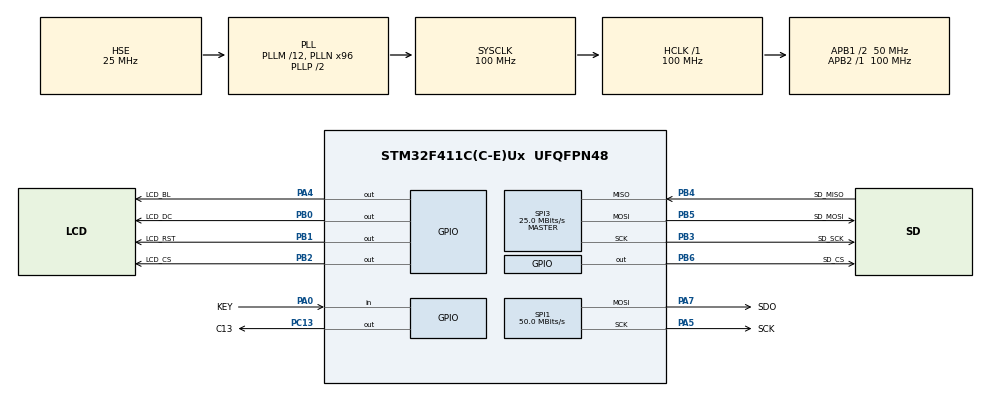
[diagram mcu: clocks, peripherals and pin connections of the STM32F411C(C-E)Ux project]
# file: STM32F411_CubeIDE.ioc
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Dma.Request0=SPI1_TX
Dma.SPI1_TX.0.Direction=DMA_MEMORY_TO_PERIPH
Dma.SPI1_TX.0.FIFOMode=DMA_FIFOMODE_DISABLE
Dma.SPI1_TX.0.Instance=DMA2_Stream2
Dma.SPI1_TX.0.MemDataAlignment=DMA_MDATAALIGN_BYTE
Dma.SPI1_TX.0.MemInc=DMA_MINC_ENABLE
Dma.SPI1_TX.0.Mode=DMA_NORMAL
Dma.SPI1_TX.0.PeriphDataAlignment=DMA_PDATAALIGN_BYTE
Dma.SPI1_TX.0.PeriphInc=DMA_PINC_DISABLE
Dma.SPI1_TX.0.Priority=DMA_PRIORITY_LOW
FATFS._FS_EXFAT=0
FATFS._MAX_SS=4096
FATFS._USE_LFN=0
Mcu.Family=STM32F4
Mcu.Name=STM32F411C(C-E)Ux
Mcu.Package=UFQFPN48
NVIC.DMA2_Stream2_IRQn=true\:0\:0\:false\:false\:true\:false\:true
NVIC.PriorityGroup=NVIC_PRIORITYGROUP_4
PA0-WKUP.GPIO_Label=KEY
PA0-WKUP.GPIO_PuPd=GPIO_PULLUP
PA0-WKUP.Signal=GPIO_Input
PA13.Mode=Serial_Wire
PA13.Signal=SYS_JTMS-SWDIO
PA14.Mode=Serial_Wire
PA14.Signal=SYS_JTCK-SWCLK
PA4.GPIO_Label=LCD_BL
PA4.GPIO_PuPd=GPIO_NOPULL
PA4.GPIO_Speed=GPIO_SPEED_FREQ_VERY_HIGH
PA4.PinState=GPIO_PIN_SET
PA4.Signal=GPIO_Output
PA5.GPIO_Label=SCK
PA5.GPIO_PuPd=GPIO_NOPULL
PA5.Mode=TX_Only_Simplex_Unidirect_Master
PA5.Signal=SPI1_SCK
PA7.GPIO_Label=SDO
PA7.Mode=TX_Only_Simplex_Unidirect_Master
PA7.Signal=SPI1_MOSI
PB0.GPIO_Label=LCD_DC
PB0.GPIO_PuPd=GPIO_PULLDOWN
PB0.GPIO_Speed=GPIO_SPEED_FREQ_VERY_HIGH
PB0.PinState=GPIO_PIN_SET
PB0.Signal=GPIO_Output
PB1.GPIO_Label=LCD_RST
PB1.GPIO_PuPd=GPIO_PULLDOWN
PB1.GPIO_Speed=GPIO_SPEED_FREQ_VERY_HIGH
PB1.PinState=GPIO_PIN_SET
PB1.Signal=GPIO_Output
PB2.GPIO_Label=LCD_CS
PB2.GPIO_PuPd=GPIO_NOPULL
PB2.GPIO_Speed=GPIO_SPEED_FREQ_VERY_HIGH
PB2.PinState=GPIO_PIN_SET
PB2.Signal=GPIO_Output
PB3.GPIO_Label=SD_SCK
PB3.Mode=Full_Duplex_Master
PB3.Signal=SPI3_SCK
PB4.GPIO_Label=SD_MISO
PB4.Mode=Full_Duplex_Master
PB4.Signal=SPI3_MISO
PB5.GPIO_Label=SD_MOSI
PB5.Mode=Full_Duplex_Master
PB5.Signal=SPI3_MOSI
PB6.GPIO_Label=SD_CS
PB6.GPIO_PuPd=GPIO_PULLUP
PB6.GPIO_Speed=GPIO_SPEED_FREQ_MEDIUM
PB6.PinState=GPIO_PIN_SET
PB6.Signal=GPIO_Output
PC13-ANTI_TAMP.GPIO_Label=C13
PC13-ANTI_TAMP.PinState=GPIO_PIN_SET
PC13-ANTI_TAMP.Signal=GPIO_Output
PC14-OSC32_IN.Mode=LSE-External-Oscillator
PC14-OSC32_IN.Signal=RCC_OSC32_IN
PC15-OSC32_OUT.Mode=LSE-External-Oscillator
PC15-OSC32_OUT.Signal=RCC_OSC32_OUT
PH0\ -\ OSC_IN.Mode=HSE-External-Oscillator
PH0\ -\ OSC_IN.Signal=RCC_OSC_IN
PH1\ -\ OSC_OUT.Mode=HSE-External-Oscillator
PH1\ -\ OSC_OUT.Signal=RCC_OSC_OUT
ProjectManager.HeapSize=0x200
ProjectManager.StackSize=0x400
ProjectManager.TargetToolchain=STM32CubeIDE
RCC.48MHZClocksFreq_Value=50000000
RCC.AHBFreq_Value=100000000
RCC.APB1CLKDivider=RCC_HCLK_DIV2
RCC.APB1Freq_Value=50000000
RCC.APB1TimFreq_Value=100000000
RCC.APB2Freq_Value=100000000
RCC.APB2TimFreq_Value=100000000
RCC.CortexFreq_Value=100000000
RCC.HCLKFreq_Value=100000000
RCC.HSE_VALUE=25000000
RCC.HSI_VALUE=16000000
RCC.PLLM=12
RCC.PLLN=96
RCC.PLLSourceVirtual=RCC_PLLSOURCE_HSE
RCC.RCC_RTC_Clock_Source=RCC_RTCCLKSOURCE_LSE
RCC.RCC_RTC_Clock_SourceVirtual=RCC_RTCCLKSOURCE_LSE
RCC.SYSCLKFreq_VALUE=100000000
RCC.SYSCLKSource=RCC_SYSCLKSOURCE_PLLCLK
RCC.VCOOutputFreq_Value=200000000
SPI1.BaudRatePrescaler=SPI_BAUDRATEPRESCALER_2
SPI1.CLKPolarity=SPI_POLARITY_HIGH
SPI1.CalculateBaudRate=50.0 MBits/s
SPI1.Direction=SPI_DIRECTION_2LINES
SPI1.Mode=SPI_MODE_MASTER
SPI1.VirtualType=VM_MASTER
SPI3.BaudRatePrescaler=SPI_BAUDRATEPRESCALER_2
SPI3.CalculateBaudRate=25.0 MBits/s
SPI3.Direction=SPI_DIRECTION_2LINES
SPI3.Mode=SPI_MODE_MASTER
SPI3.VirtualType=VM_MASTER
VP_FATFS_VS_Generic.Mode=User_defined
board=custom

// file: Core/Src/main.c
/* USER CODE BEGIN Header */
/**
 ******************************************************************************
 * @file           : main.c
 * @brief          : Main program body
 ******************************************************************************
 * @attention
 *
 * <h2><center>&copy; Copyright (c) 2020 STMicroelectronics.
 * All rights reserved.</center></h2>
 *
 * This software component is licensed by ST under BSD 3-Clause license,
 * the "License"; You may not use this file except in compliance with the
 * License. You may obtain a copy of the License at:
 *                        opensource.org/licenses/BSD-3-Clause
 *
 ******************************************************************************
 */
/* USER CODE END Header */
#include "main.h"
#include "dma.h"
#include "fatfs.h"
#include "spi.h"
#include "gpio.h"

/* USER CODE BEGIN Includes */
#include <stdio.h>
#include "st7789.h"
#include "tjpgd.h"
/* USER CODE END Includes */

/* USER CODE BEGIN PTD */
/* Session identifier for input/output functions (Name, members and usage are as user defined) */
typedef struct {
    FIL *fp;               /* Input stream */
    uint8_t *fbuf;         /* Pointer to the frame buffer */
    unsigned int wfbuf;    /* Width of the frame buffer [pix] */
    unsigned int bytesRead;
} IODEV;
/* USER CODE END PTD */

/* USER CODE BEGIN PD */
/* Bytes per pixel of image output */
#define N_BPP (3 - JD_FORMAT)
/* USER CODE END PD */

/* USER CODE BEGIN PV */
SPI_HandleTypeDef hspi1;
SPI_HandleTypeDef hspi3;
DMA_HandleTypeDef hdma_spi1_tx;

FATFS fs;
FIL fil;
uint8_t buffer[100];
char buff[50];
/* USER CODE END PV */

void SystemClock_Config(void);

/* USER CODE BEGIN 0 */

/*------------------------------*/
/* User defined input funciton  */
/*------------------------------*/

size_t in_func (    /* Returns number of bytes read (zero on error) */
    JDEC* jd,       /* Decompression object */
    uint8_t* buff,  /* Pointer to the read buffer (null to remove data) */
    size_t nbyte    /* Number of bytes to read/remove */
)
{
    IODEV *dev = (IODEV*)jd->device;   /* Session identifier (5th argument of jd_prepare function) */

    unsigned int bytesRead = 0;
    if (buff) { /* Read data from input stream */
        FRESULT res = f_read(dev->fp, buff, nbyte, &bytesRead);
        if (res != FR_OK) {
          ST7789_WriteString(10, 20, "f_read nok", Font_11x18, RED, BLACK);
        }
        // we must keep track of how many bytes have been read in total
        dev->bytesRead += bytesRead;
        return bytesRead;
    } else {    /* Remove data from input stream */
        // calculate the amount of bytes to seek
        dev->bytesRead += nbyte;
        return f_lseek(dev->fp, dev->bytesRead) ? 0 : nbyte;
    }
}

/*------------------------------*/
/* User defined output funciton */
/*------------------------------*/

int out_func (      /* Returns 1 to continue, 0 to abort */
    JDEC* jd,       /* Decompression object */
    void* bitmap,   /* Bitmap data to be output */
    JRECT* rect     /* Rectangle region of output image */
)
{
    // the image start position in the screen
    uint8_t xPos = 0;
    uint8_t yPos = 0;

    uint16_t  x = rect->left + xPos;
    uint16_t  y = rect->top  + yPos;
    uint16_t w = rect->right  + 1 - rect->left;
    uint16_t h = rect->bottom + 1 - rect->top;

    ST7789_DrawImage(x, y, w, h, (uint16_t*)bitmap);

    return 1;    /* Continue to decompress */
}
/* USER CODE END 0 */

int main(void)
{
  /* USER CODE BEGIN 1 */
	SCB->VTOR = FLASH_BASE | 0x4000; // 添加至工程开头时钟初始化之后
	CoreDebug->DEMCR |= CoreDebug_DEMCR_TRCENA_Msk; // Enable DWT
	DWT->CYCCNT = 0;                                // Clear counter
	DWT->CTRL = DWT_CTRL_CYCCNTENA_Msk;             // Enable counter
  /* USER CODE END 1 */

  /* MCU Configuration--------------------------------------------------------*/

  /* Reset of all peripherals, Initializes the Flash interface and the Systick. */
  HAL_Init();

  /* Configure the system clock */
  SystemClock_Config();

  /* Initialize all configured peripherals */
  MX_GPIO_Init();
  MX_DMA_Init();
  MX_SPI1_Init();
  MX_SPI3_Init();
  MX_FATFS_Init();
  /* USER CODE BEGIN 2 */
	ST7789_Init();
	HAL_GPIO_WritePin(LCD_BL_GPIO_Port, LCD_BL_Pin, GPIO_PIN_SET);

	ST7789_Fill_Color(BLACK);
	ST7789_WriteString(10, 0, "DISPLAY OK", Font_11x18, GREEN, BLACK);

	FRESULT res = f_mount(&fs, "", 1);
	if (res != FR_OK) {
		sprintf(buff, "ERROR MOUNTING: %d", (int) res);
		ST7789_WriteString(10, 20, buff, Font_11x18, GREEN, BLACK);
	} else {
		//ST7789_WriteString(10, 20, "MOUNT OK", Font_11x18, GREEN, BLACK);
	}

	// list images dir
	// save the image name in a list
	// display the images in sequence
	uint8_t fileNameMaxSize = 20;
	uint8_t totalFiles = 0;
	DIR dp;
	FILINFO fno;
	res = f_opendir(&dp, "/images");
	if (res != FR_OK) {
    sprintf(buff, "ERROR OPEN DIR: %d", (int) res);
    ST7789_WriteString(10, 40, buff, Font_11x18, GREEN, BLACK);
	} else {
	  for (;; totalFiles++) {
	    res = f_readdir(&dp, &fno);                    // Read a directory item
	    if (res != FR_OK || fno.fname[0] == 0) break;  // Break on error or end of dir
	    // salvar os nomes dos arquivos em um buffer
	    sprintf((char*)buffer + (totalFiles * fileNameMaxSize), "/images/%s", fno.fname);
	    //ST7789_WriteString(10, counter, buff, Font_7x10, WHITE, BLACK);
	  }
	  f_closedir(&dp);
	}

	//for (uint8_t c = 0; c < totalFiles; c++) {
	//  ST7789_WriteString(10, (c * 20) + 20,(char*)buffer + (c * fileNameMaxSize), Font_7x10, WHITE, BLACK);
	//}

  JRESULT jRes;      /* Result code of TJpgDec API */
  JDEC jdec;        /* Decompression object */
  void *work;       /* Pointer to the work area */
  size_t sz_work = 3500; /* Size of work area */
  IODEV devid;      /* Session identifier */

  devid.fp = &fil;
  work = (void*)malloc(sz_work);
  // test jpeg decompressor end

  /* USER CODE END 2 */

  /* Infinite loop */
	while (1) {

    /* USER CODE BEGIN 3 */
    for (uint8_t fileCounter = 0; fileCounter < totalFiles; fileCounter++) {
      char *fileName = (char*)buffer + (fileCounter * fileNameMaxSize);
      res = f_open(devid.fp, fileName, FA_READ);
      if (res != FR_OK) {
        sprintf(buff, "open file nok: %d", (int) res);
        ST7789_WriteString(10, 0, buff, Font_11x18, GREEN, BLACK);
        return 0;
      }

      devid.bytesRead = 0;
      jRes = jd_prepare(&jdec, in_func, work, sz_work, &devid);
      if (jRes == JDR_OK) {
        /* It is ready to decompress and image info is available here */
        //sprintf(buff, "size %u x %u", jdec.width, jdec.height);
        //ST7789_WriteString(0, 0, buff, Font_11x18, GREEN, BLACK);

        jRes = jd_decomp(&jdec, out_func, 0); /* Start to decompress with 1/1 scaling */
        if (jRes == JDR_OK) {
          /* Decompression succeeded */
          //ST7789_WriteString(10, 20, "Decompressed!", Font_11x18, GREEN, BLACK);
        } else {
          sprintf(buff, "Decompression failed %d", jRes);
          ST7789_WriteString(10, 40, buff, Font_11x18, RED, BLACK);
        }

      } else {
        sprintf(buff, "jd_prepare %d", jRes);
        ST7789_WriteString(10, 40, buff, Font_11x18, RED, BLACK);
      }

      f_close(devid.fp); /* Close the JPEG file */

      HAL_Delay(2000);
    }

		// printar um ok na tela, usar o display como debug do cartão sd!
		// Enter the HID Bootloader
		if (HAL_GPIO_ReadPin(KEY_GPIO_Port, KEY_Pin) == GPIO_PIN_RESET) {
			NVIC_SystemReset();
		}
	}
  /* USER CODE END 3 */
}

void SystemClock_Config(void)
{
  RCC_OscInitTypeDef RCC_OscInitStruct = {0};
  RCC_ClkInitTypeDef RCC_ClkInitStruct = {0};

  /** Configure the main internal regulator output voltage
  */
  __HAL_RCC_PWR_CLK_ENABLE();
  __HAL_PWR_VOLTAGESCALING_CONFIG(PWR_REGULATOR_VOLTAGE_SCALE1);
  /** Initializes the RCC Oscillators according to the specified parameters
  * in the RCC_OscInitTypeDef structure.
  */
  RCC_OscInitStruct.OscillatorType = RCC_OSCILLATORTYPE_HSE;
  RCC_OscInitStruct.HSEState = RCC_HSE_ON;
  RCC_OscInitStruct.PLL.PLLState = RCC_PLL_ON;
  RCC_OscInitStruct.PLL.PLLSource = RCC_PLLSOURCE_HSE;
  RCC_OscInitStruct.PLL.PLLM = 12;
  RCC_OscInitStruct.PLL.PLLN = 96;
  RCC_OscInitStruct.PLL.PLLP = RCC_PLLP_DIV2;
  RCC_OscInitStruct.PLL.PLLQ = 4;
  if (HAL_RCC_OscConfig(&RCC_OscInitStruct) != HAL_OK)
  {
    Error_Handler();
  }
  /** Initializes the CPU, AHB and APB buses clocks
  */
  RCC_ClkInitStruct.ClockType = RCC_CLOCKTYPE_HCLK|RCC_CLOCKTYPE_SYSCLK
                              |RCC_CLOCKTYPE_PCLK1|RCC_CLOCKTYPE_PCLK2;
  RCC_ClkInitStruct.SYSCLKSource = RCC_SYSCLKSOURCE_PLLCLK;
  RCC_ClkInitStruct.AHBCLKDivider = RCC_SYSCLK_DIV1;
  RCC_ClkInitStruct.APB1CLKDivider = RCC_HCLK_DIV2;
  RCC_ClkInitStruct.APB2CLKDivider = RCC_HCLK_DIV1;

  if (HAL_RCC_ClockConfig(&RCC_ClkInitStruct, FLASH_LATENCY_3) != HAL_OK)
  {
    Error_Handler();
  }
}

void Error_Handler(void)
{
  /* USER CODE BEGIN Error_Handler_Debug */
	/* User can add his own implementation to report the HAL error return state */
  ST7789_WriteString(10, 40, "ERROR", Font_11x18, RED, BLACK);
  /* USER CODE END Error_Handler_Debug */
}

/************************ (C) COPYRIGHT STMicroelectronics *****END OF FILE****/
